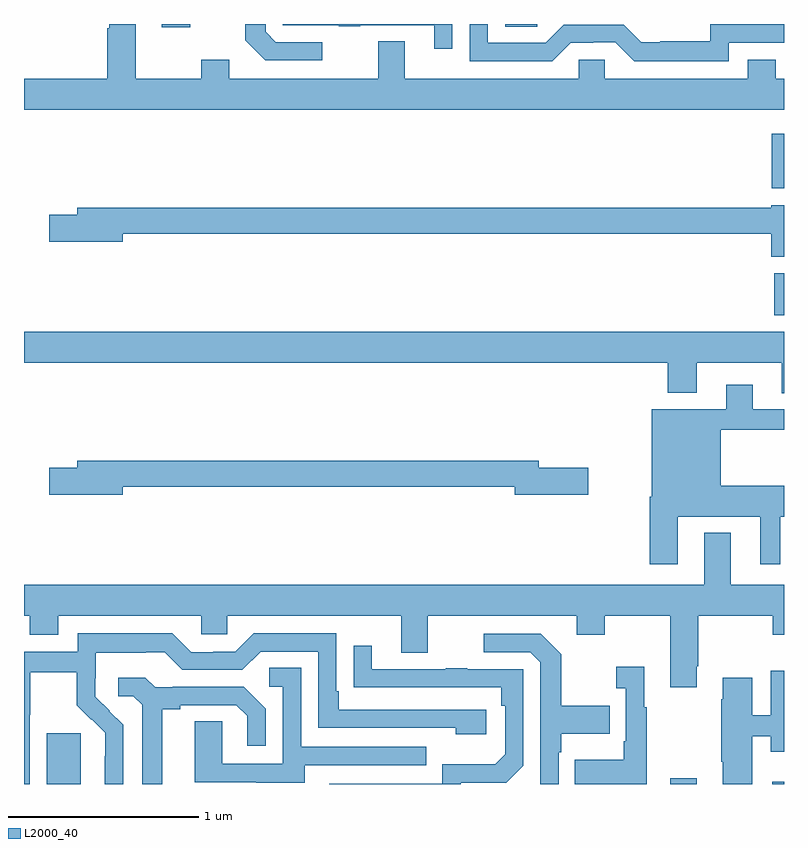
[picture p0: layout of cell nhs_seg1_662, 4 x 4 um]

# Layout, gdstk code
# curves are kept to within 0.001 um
import gdstk
lib = gdstk.Library(unit=1e-6, precision=1e-09)
def R(c, l, rs):  # rectangles x0, y0, x1, y1
    for r in rs: c.add(gdstk.rectangle(r[:2], r[2:], *l))
def P(c, l, *ps):  # polygons
    for p in ps: c.add(gdstk.Polygon(p, *l))
L2000_40 = (2000, 40)

nhs_seg1_662 = lib.new_cell('nhs_seg1_662')
R(nhs_seg1_662, L2000_40, [(147.119,532.199,147.298,532.467), (150.401,532.199,150.541,532.228), (150.939,532.199,151,532.21), (150.949,534.665,151,534.886), (150.935,535.334,151,535.621), (147.725,536.181,147.874,536.199), (149.532,536.185,149.701,536.199)])
P(nhs_seg1_662, L2000_40, [(150.708,536.1),(151,536.1),(151,536.199),(150.612,536.199),(150.612,536.107),(150.349,536.107),(150.349,536.103),(150.249,536.103),(150.156,536.196),(149.841,536.196),(149.745,536.1),(149.442,536.1),(149.442,536.199),(149.346,536.199),(149.346,536.004),(149.781,536.004),(149.877,536.1),(149.996,536.1),(149.996,536.103),(150.111,536.103),(150.211,536.003),(150.708,536.003)],
  [(148.57,536.103),(148.326,536.103),(148.272,536.157),(148.272,536.199),(148.164,536.199),(148.164,536.113),(148.269,536.007),(148.57,536.007)],
  [(151,535.912),(150.957,535.912),(150.957,536.011),(150.809,536.011),(150.809,535.912),(150.057,535.912),(150.057,536.01),(149.919,536.01),(149.919,535.912),(149.005,535.912),(149.005,536.107),(148.865,536.107),(148.865,535.912),(148.081,535.912),(148.081,536.011),(147.934,536.011),(147.934,535.912),(147.589,535.912),(147.589,536.199),(147.449,536.199),(147.449,536.177),(147.437,536.177),(147.437,535.912),(147,535.912),(147,535.748),(151,535.748)],
  [(149.255,536.199),(148.362,536.199),(148.362,536.193),(148.657,536.193),(148.657,536.188),(148.769,536.188),(148.769,536.193),(149.159,536.193),(149.159,536.07),(149.255,536.07)],
  [(151,535.246),(150.932,535.246),(150.932,535.232),(147.281,535.232),(147.281,535.196),(147.132,535.196),(147.132,535.054),(147.52,535.054),(147.52,535.096),(150.932,535.096),(150.932,534.974),(151,534.974)],
  [(151,534.58),(147,534.58),(147,534.416),(150.389,534.416),(150.389,534.257),(150.541,534.257),(150.541,534.416),(150.989,534.416),(150.989,534.256),(151,534.256)],
  [(150.442,533.606),(150.875,533.606),(150.875,533.355),(150.979,533.355),(150.979,533.606),(151,533.606),(151,533.77),(150.667,533.77),(150.667,534.063),(151,534.063),(151,534.171),(150.835,534.171),(150.835,534.301),(150.695,534.301),(150.695,534.172),(150.305,534.172),(150.305,533.71),(150.293,533.71),(150.293,533.355),(150.442,533.355)],
  [(147.52,533.764),(149.582,533.764),(149.582,533.722),(149.971,533.722),(149.971,533.864),(149.71,533.864),(149.71,533.9),(147.281,533.9),(147.281,533.864),(147.132,533.864),(147.132,533.722),(147.52,533.722)],
  [(147,533.084),(147.029,533.084),(147.029,532.985),(147.181,532.985),(147.181,533.084),(147.933,533.084),(147.933,532.986),(148.071,532.986),(148.071,533.084),(148.985,533.084),(148.985,532.89),(149.125,532.89),(149.125,533.084),(149.909,533.084),(149.909,532.985),(150.057,532.985),(150.057,533.084),(150.401,533.084),(150.401,532.707),(150.541,532.707),(150.541,532.819),(150.549,532.819),(150.549,533.084),(150.94,533.084),(150.94,532.985),(151,532.985),(151,533.248),(150.721,533.248),(150.721,533.521),(150.581,533.521),(150.581,533.248),(147,533.248)],
  [(147.03,532.564),(147.033,532.564),(147.033,532.788),(147.277,532.788),(147.277,532.613),(147.354,532.536),(147.357,532.539),(147.428,532.469),(147.428,532.346),(147.426,532.346),(147.426,532.199),(147.522,532.199),(147.522,532.51),(147.376,532.658),(147.376,532.755),(147.378,532.755),(147.378,532.889),(147.641,532.889),(147.641,532.893),(147.741,532.893),(147.834,532.8),(148.149,532.8),(148.245,532.896),(148.548,532.896),(148.548,532.494),(149.273,532.494),(149.273,532.46),(149.434,532.46),(149.434,532.59),(148.657,532.59),(148.657,532.687),(148.644,532.687),(148.644,532.992),(148.209,532.992),(148.113,532.896),(147.995,532.896),(147.995,532.893),(147.879,532.893),(147.779,532.993),(147.282,532.993),(147.282,532.896),(147,532.896),(147,532.199),(147.03,532.199)],
  [(149.814,532.367),(149.827,532.367),(149.827,532.463),(150.083,532.463),(150.083,532.611),(149.827,532.611),(149.827,532.883),(149.721,532.989),(149.421,532.989),(149.421,532.893),(149.664,532.893),(149.718,532.839),(149.718,532.199),(149.814,532.199)],
  [(149.298,532.206),(149.538,532.206),(149.628,532.296),(149.628,532.803),(149.333,532.803),(149.333,532.808),(149.221,532.808),(149.221,532.803),(148.831,532.803),(148.831,532.927),(148.735,532.927),(148.735,532.708),(149.512,532.707),(149.512,532.61),(149.532,532.61),(149.532,532.356),(149.479,532.303),(149.202,532.303),(149.202,532.2),(148.607,532.199),(149.298,532.199)],
  [(150.277,532.603),(150.265,532.603),(150.265,532.816),(150.117,532.816),(150.117,532.703),(150.168,532.703),(150.168,532.423),(150.156,532.423),(150.156,532.327),(149.899,532.327),(149.899,532.199),(150.277,532.199)],
  [(148.477,532.299),(149.117,532.299),(149.117,532.395),(148.458,532.395),(148.458,532.811),(148.29,532.811),(148.29,532.71),(148.362,532.71),(148.362,532.305),(148.044,532.305),(148.044,532.529),(147.899,532.529),(147.899,532.209),(148.223,532.209),(148.223,532.205),(148.477,532.205)],
  [(150.832,532.45),(150.929,532.45),(150.929,532.368),(151,532.368),(151,532.795),(150.929,532.795),(150.929,532.561),(150.832,532.561),(150.832,532.759),(150.677,532.759),(150.677,532.646),(150.67,532.646),(150.67,532.315),(150.677,532.315),(150.677,532.199),(150.832,532.199)],
  [(147.727,532.592),(147.823,532.592),(147.823,532.614),(148.118,532.614),(148.175,532.557),(148.175,532.401),(148.272,532.401),(148.272,532.594),(148.156,532.71),(147.784,532.71),(147.784,532.707),(147.69,532.707),(147.638,532.759),(147.495,532.759),(147.495,532.662),(147.576,532.662),(147.623,532.615),(147.623,532.199),(147.727,532.199)])

lib.write_gds('nhs_seg1_662.gds')
